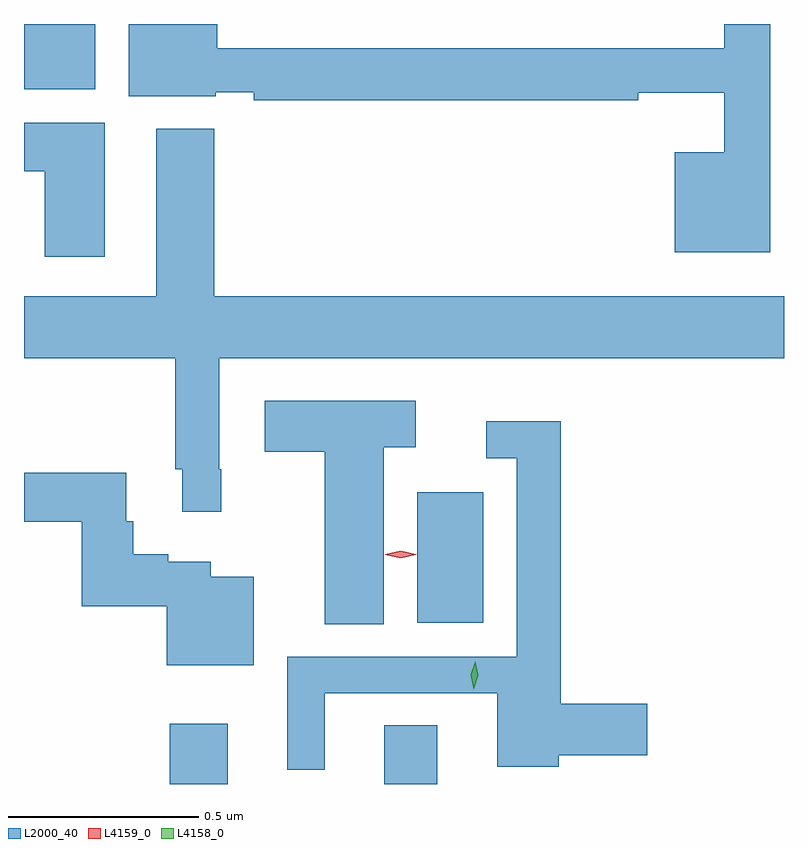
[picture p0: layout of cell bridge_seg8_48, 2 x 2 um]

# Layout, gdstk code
import gdstk
lib = gdstk.Library(unit=1e-6, precision=1e-09)
def R(c, l, rs):  # rectangles x0, y0, x1, y1
    for r in rs: c.add(gdstk.rectangle(r[:2], r[2:], *l))
def P(c, l, *ps):  # polygons
    for p in ps: c.add(gdstk.Polygon(p, *l))
L2000_40 = (2000, 40)
L4158_0 = (4158, 0)
L4159_0 = (4159, 0)

bridge_seg8_48 = lib.new_cell('bridge_seg8_48')
R(bridge_seg8_48, L2000_40, [(1034.495,1118.044,1034.647,1118.203), (1035.059,1118.044,1035.199,1118.198), (1035.146,1118.468,1035.319,1118.812), (1034.111,1119.872,1034.299,1120.044)])
P(bridge_seg8_48, L2000_40, [(1036.075,1120.044),(1035.954,1120.044),(1035.954,1119.98),(1034.62,1119.98),(1034.62,1120.044),(1034.387,1120.044),(1034.387,1119.854),(1034.616,1119.854),(1034.616,1119.864),(1034.716,1119.864),(1034.716,1119.844),(1035.728,1119.844),(1035.728,1119.863),(1035.954,1119.863),(1035.954,1119.706),(1035.824,1119.706),(1035.824,1119.443),(1036.075,1119.443)],
  [(1034.323,1119.784),(1034.111,1119.784),(1034.111,1119.656),(1034.165,1119.656),(1034.165,1119.432),(1034.323,1119.432)],
  [(1035.058,1118.93),(1035.142,1118.93),(1035.142,1119.052),(1034.745,1119.052),(1034.745,1118.918),(1034.903,1118.918),(1034.903,1118.464),(1035.058,1118.464)],
  [(1034.902,1118.283),(1035.356,1118.283),(1035.356,1118.09),(1035.518,1118.09),(1035.518,1118.12),(1035.751,1118.12),(1035.751,1118.255),(1035.524,1118.255),(1035.524,1118.998),(1035.327,1118.998),(1035.327,1118.901),(1035.408,1118.901),(1035.408,1118.379),(1034.804,1118.379),(1034.804,1118.082),(1034.902,1118.082)],
  [(1036.111,1119.164),(1036.111,1119.328),(1034.612,1119.328),(1034.612,1119.769),(1034.459,1119.769),(1034.459,1119.328),(1034.111,1119.328),(1034.111,1119.164),(1034.509,1119.164),(1034.509,1118.872),(1034.528,1118.872),(1034.528,1118.76),(1034.63,1118.76),(1034.63,1118.872),(1034.625,1118.872),(1034.625,1119.164)],
  [(1034.716,1118.59),(1034.602,1118.59),(1034.602,1118.629),(1034.49,1118.629),(1034.49,1118.648),(1034.399,1118.648),(1034.399,1118.736),(1034.38,1118.736),(1034.38,1118.863),(1034.111,1118.863),(1034.111,1118.734),(1034.263,1118.734),(1034.263,1118.512),(1034.486,1118.512),(1034.486,1118.357),(1034.716,1118.357)])
P(bridge_seg8_48, L4158_0, [(1035.294,1118.294),(1035.294,1118.294),(1035.286,1118.331),(1035.298,1118.366),(1035.298,1118.367),(1035.298,1118.366),(1035.306,1118.33),(1035.294,1118.294)])
P(bridge_seg8_48, L4159_0, [(1035.102,1118.638),(1035.062,1118.647),(1035.062,1118.648),(1035.062,1118.648),(1035.102,1118.658),(1035.142,1118.648),(1035.143,1118.648),(1035.142,1118.647)])

lib.write_gds('bridge_seg8_48.gds')
